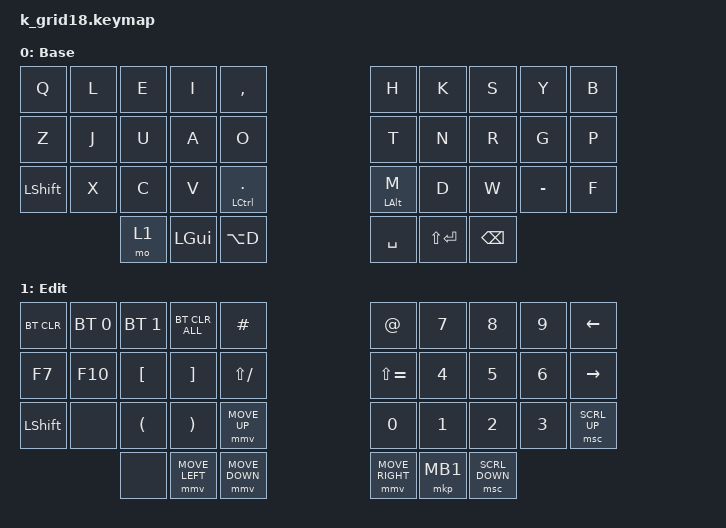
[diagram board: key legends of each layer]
#include <behaviors.dtsi>
#include <dt-bindings/zmk/bt.h>
#include <dt-bindings/zmk/keys.h>
#include <dt-bindings/zmk/pointing.h>

/ {
    combos {
        compatible = "zmk,combos";

        WKanaE {
            bindings = <&kp LC(LEFT_SHIFT)>;
            key-positions = <34 33>;
        };

        kanaE {
            bindings = <&kp LG(SPACE)>;
            key-positions = <32 31>;
        };

        ss {
            bindings = <&kp LS(LG(NUMBER_4))>;
            key-positions = <4 3>;
        };

        Wss {
            bindings = <&kp LS(LG(S))>;
            key-positions = <5 6>;
        };

        enter {
            bindings = <&kp ENTER>;
            key-positions = <34 35>;
        };
    };

    keymap {
        compatible = "zmk,keymap";

        default_layer {
            display-name = "Base";
            bindings = <
&kp Q           &kp L  &kp E  &kp I     &kp COMMA         &kp H           &kp K          &kp S          &kp Y      &kp B
&kp Z           &kp J  &kp U  &kp A     &kp O             &kp T           &kp N          &kp R          &kp G      &kp P
&kp LEFT_SHIFT  &kp X  &kp C  &kp V     &mt LCTRL PERIOD  &mt LEFT_ALT M  &kp D          &kp W          &kp MINUS  &kp F
                       &mo 1  &kp LGUI  &kp LA(D)         &kp SPACE       &kp LS(ENTER)  &kp BACKSPACE
            >;
        };

        layer_1 {
            display-name = "Edit";
            bindings = <
&bt BT_CLR      &bt BT_SEL 0  &bt BT_SEL 1          &bt BT_CLR_ALL         &kp HASH        &kp AT           &kp N7    &kp N8          &kp N9  &kp LEFT_ARROW
&kp F7          &kp F10       &kp LBKT              &kp RIGHT_BRACKET      &kp LS(SLASH)   &kp LS(EQUAL)    &kp N4    &kp N5          &kp N6  &kp RIGHT
&kp LEFT_SHIFT  &none         &kp LEFT_PARENTHESIS  &kp RIGHT_PARENTHESIS  &mmv MOVE_UP    &kp NUMBER_0     &kp N1    &kp N2          &kp N3  &msc SCRL_UP
                              &none                 &mmv MOVE_LEFT         &mmv MOVE_DOWN  &mmv MOVE_RIGHT  &mkp MB1  &msc SCRL_DOWN
            >;
        };
    };
};
